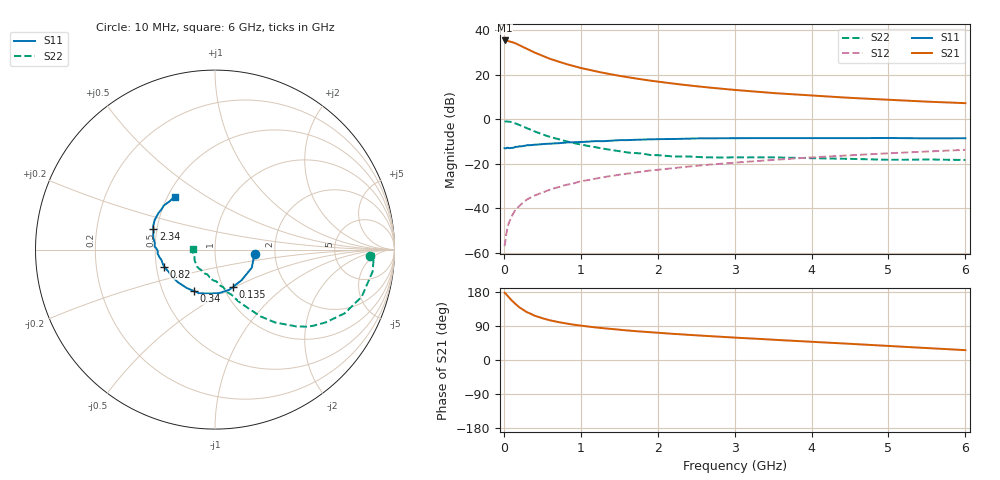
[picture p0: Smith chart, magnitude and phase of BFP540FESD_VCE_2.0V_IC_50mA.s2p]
! Infineon Technologies  Discrete & RF Semiconductors
! BFP540FESD
! VCE =  2.0 V,  IC =  50 mA
! Common Emitter S-Parameters:  Nov 2015
# GHz  S  MA  R  50
!  f  S11  S21  S12  S22
! GHz  MAG  ANG  MAG  ANG  MAG  ANG  MAG  ANG
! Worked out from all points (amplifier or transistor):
!   210 points, 10 MHz to 6 GHz, reference 50 ohm
!   highest |S21| = 35.3 dB at 10 MHz (marker M1)
!   |S21| within 3 dB of that: start of sweep to 253.9 MHz
!   unconditionally stable (mu >= 1): start of sweep to 19.28 MHz; 1.2 GHz to end of sweep
!   at 185 MHz: K = 0.50, MSG = 36.5 dB, |S12| = -39.6 dB
!   at 1.52 GHz: K = 1.04, MAG = 20.9 dB, |S12| = -24.9 dB
!   at 6 GHz: K = 1.17, MAG = 8.0 dB, |S12| = -13.8 dB
!   S11 on the Smith chart (normalised r, x): 10 MHz: 1.57, -0.08; 135 MHz: 1.11, -0.49; 340 MHz: 0.72, -0.36; 820 MHz: 0.55, -0.11; 2.34 GHz: 0.48, +0.13; 6 GHz: 0.54, +0.37
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0.01  0.2224 -6.2  58.31 177.5  0.0014 120.6  0.8661 -2.2
0.02  0.2207 -13.5  56.55 175.8  0.0018 102.9  0.8861 -1.5
0.05  0.2284 -26.2  56.78 169.0  0.0039 89.8  0.8867 -7.9
0.1  0.2258 -48.8  54.08 157.7  0.0063 81.5  0.8586 -17.8
0.135  0.2308 -64.1  51.4 151.0  0.0083 78.1  0.8194 -23.5
0.15  0.2377 -70.2  50.48 147.9  0.0092 77.1  0.8053 -26.1
0.2  0.2437 -84.9  45.89 139.2  0.0111 75.7  0.7397 -33.2
0.24  0.2462 -96.1  42.41 133.8  0.0129 74.5  0.6924 -37.8
0.3  0.259 -110.2  37.74 126.2  0.0156 73.2  0.623 -43.4
0.34  0.2592 -116.9  35.03 122.9  0.017 72.3  0.5838 -45.9
0.4  0.266 -126.6  31.22 116.9  0.0192 71.1  0.5276 -50.4
0.5  0.2751 -138.6  26.35 110.0  0.0224 70.9  0.4525 -55.6
0.6  0.2826 -147.0  22.53 104.7  0.0261 70.5  0.3973 -59.0
0.82  0.2985 -161.6  17.05 96.0  0.0335 70.1  0.314 -65.9
1.02  0.3058 -169.8  13.81 90.2  0.0406 69.5  0.264 -70.6
1.5  0.3378 176.9  9.373 79.8  0.0563 67.7  0.1919 -84.6
2.02  0.3551 166.0  6.862 71.5  0.0731 64.8  0.1541 -102.2
2.34  0.3627 161.5  5.874 67.2  0.0838 62.7  0.1446 -111.4
3.1  0.3742 153.2  4.38 58.1  0.1083 57.8  0.1381 -130.2
4.1  0.3743 146.1  3.295 47.0  0.141 51.1  0.1314 -146.3
5.1  0.3744 138.0  2.664 36.0  0.1739 42.7  0.1219 -162.4
6  0.3715 127.3  2.279 26.0  0.2037 35.0  0.1209 177.2
